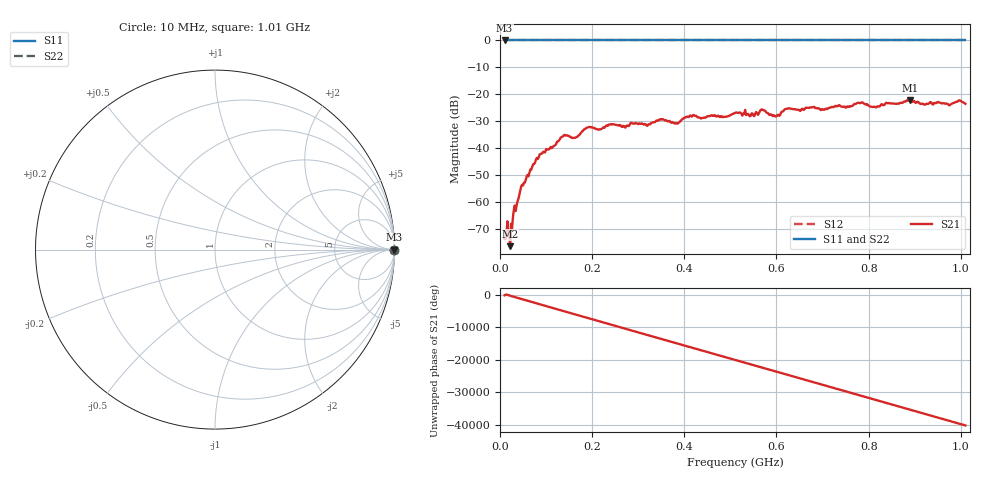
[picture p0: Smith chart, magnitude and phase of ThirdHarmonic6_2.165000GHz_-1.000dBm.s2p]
! 8/17/2025 1:50:27 AM
! C:\ANRITSUVNA\TEMP\TEMP.S2P
! CHANNEL.1
! TR.MEASUREMENT
! RAW.DATA
! RF.CORRECTION.OFF
! AVERAGING.OFF
! IF.BANDWIDTH: 5KHZ
! SWEEPTYPE:  FREQ.SWEEP(Linear)
! Reference Plane Port Info
! PORT:  PORT1  PORT2
! DISTANCE:  0  m  0  m
! TIME:  0  s  0  s
! PHASE.OFFSET:  0  deg.  0  deg.
! LOSS:  0  dB  0  dB
! REF.LOSS:  0  dB  0  dB
! REF.FREQ:  0  Hz  0  Hz
! Power Info
! POWER:  -20  dBm  -20  dBm
! EFF.POWER:  -20  dBm  -20  dBm
! SOURCE.ATTEN:  0  dB  0  dB
! TEST.ATTEN:  0  dB  0  dB
# GHZ S RI R 50.0
! FREQ.GHZ  S11RE  S11IM  S21RE  S21IM  S12RE  S12IM  S22RE  S22IM
!; PortSelection: Port_12
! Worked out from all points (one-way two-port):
!   501 points, 10 MHz to 1.01 GHz, reference 50 ohm
!   highest |S21| = -22.18 dB at 890 MHz (marker M1); lowest = -76.5 dB at 22 MHz (marker M2)
!   lowest |S11| = 0.0 dB at 10 MHz (marker M3)
!   |S11| at or under -10 dB: nowhere
!   |S22| runs from 0.0 to 0.0 dB; largest |S21 - S12| = 1.1
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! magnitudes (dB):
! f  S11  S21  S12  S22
! 10 MHz  0.0  -73.8  0.0  0.0
! 22 MHz  0.0  -76.5  0.0  0.0
! 28 MHz  0.0  -65.9  0.0  0.0
! 46 MHz  0.0  -54.3  0.0  0.0
! 82 MHz  0.0  -44.1  0.0  0.0
! 136 MHz  0.0  -35.7  0.0  0.0
! 164 MHz  0.0  -36.1  0.0  0.0
! 178 MHz  0.0  -33.9  0.0  0.0
! 192 MHz  0.0  -32.3  0.0  0.0
! 322 MHz  0.0  -31.2  0.0  0.0
! 344 MHz  0.0  -29.7  0.0  0.0
! 382 MHz  0.0  -30.7  0.0  0.0
! 416 MHz  0.0  -28.3  0.0  0.0
! 510 MHz  0.0  -27.0  0.0  0.0
! 548 MHz  0.0  -27.2  0.0  0.0
! 570 MHz  0.0  -25.8  0.0  0.0
! 596 MHz  0.0  -28.0  0.0  0.0
! 622 MHz  0.0  -25.4  0.0  0.0
! 678 MHz  0.0  -24.8  0.0  0.0
! 844 MHz  0.0  -23.3  0.0  0.0
! 890 MHz  0.0  -22.2  0.0  0.0
! 1.01 GHz  0.0  -23.6  0.0  0.0
